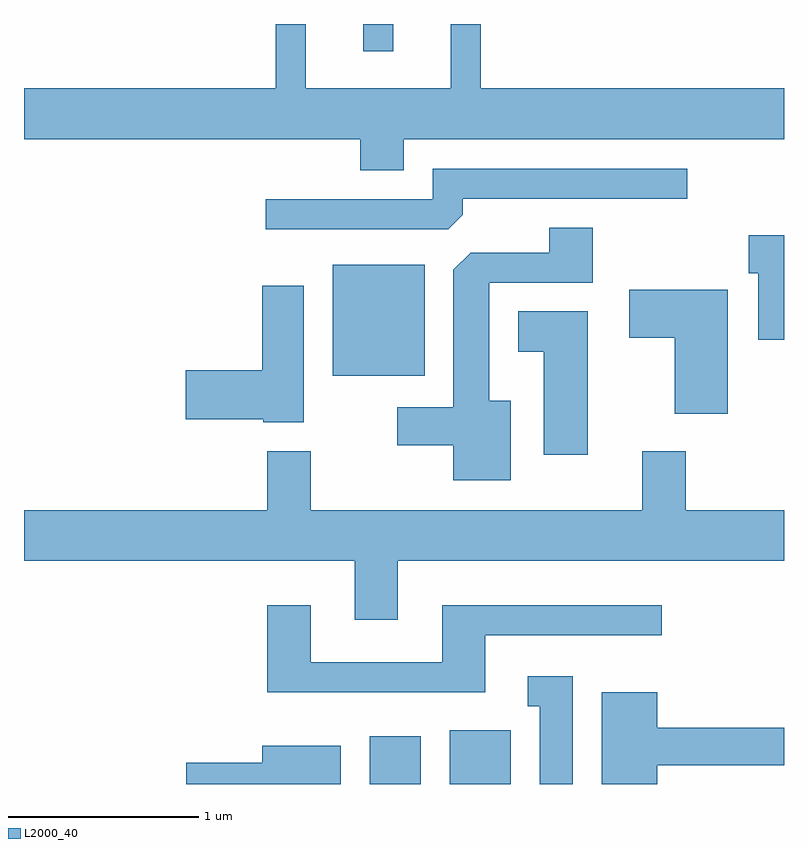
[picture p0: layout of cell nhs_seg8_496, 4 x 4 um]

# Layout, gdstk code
import gdstk
lib = gdstk.Library(unit=1e-6, precision=1e-09)
def R(c, l, rs):  # rectangles x0, y0, x1, y1
    for r in rs: c.add(gdstk.rectangle(r[:2], r[2:], *l))
def P(c, l, *ps):  # polygons
    for p in ps: c.add(gdstk.Polygon(p, *l))
L2000_40 = (2000, 40)

nhs_seg8_496 = lib.new_cell('nhs_seg8_496')
R(nhs_seg8_496, L2000_40, [(201.431,1846.342,201.699,1846.594), (201.851,1846.342,202.174,1846.624), (201.236,1848.491,201.719,1849.074), (201.396,1850.198,201.554,1850.342)])
P(nhs_seg8_496, L2000_40, [(201.609,1849.736),(203.611,1849.736),(203.611,1850.004),(202.014,1850.004),(202.014,1850.342),(201.856,1850.342),(201.856,1850.004),(201.094,1850.004),(201.094,1850.342),(200.936,1850.342),(200.936,1850.004),(199.611,1850.004),(199.611,1849.736),(201.381,1849.736),(201.381,1849.571),(201.609,1849.571)],
  [(201.919,1849.337),(201.919,1849.421),(203.103,1849.421),(203.103,1849.579),(201.761,1849.579),(201.761,1849.419),(200.883,1849.419),(200.883,1849.261),(201.844,1849.261)],
  [(202.174,1848.359),(202.059,1848.359),(202.059,1848.981),(202.604,1848.981),(202.604,1849.269),(202.376,1849.269),(202.376,1849.139),(201.962,1849.139),(201.871,1849.049),(201.871,1848.324),(201.576,1848.324),(201.576,1848.126),(201.871,1848.126),(201.871,1847.941),(202.174,1847.941)],
  [(203.611,1849.229),(203.426,1849.229),(203.426,1849.031),(203.476,1849.031),(203.476,1848.681),(203.611,1848.681)],
  [(201.084,1848.964),(200.866,1848.964),(200.866,1848.519),(200.461,1848.519),(200.461,1848.261),(200.87,1848.261),(200.87,1848.246),(201.084,1848.246)],
  [(203.314,1848.944),(202.796,1848.944),(202.796,1848.691),(203.036,1848.691),(203.036,1848.291),(203.314,1848.291)],
  [(202.579,1848.829),(202.211,1848.829),(202.211,1848.616),(202.346,1848.616),(202.346,1848.076),(202.579,1848.076)],
  [(201.579,1847.516),(203.611,1847.516),(203.611,1847.784),(203.094,1847.784),(203.094,1848.094),(202.866,1848.094),(202.866,1847.784),(201.119,1847.784),(201.119,1848.094),(200.891,1848.094),(200.891,1847.784),(199.611,1847.784),(199.611,1847.516),(201.351,1847.516),(201.351,1847.206),(201.579,1847.206)],
  [(202.039,1847.126),(202.968,1847.126),(202.968,1847.284),(201.811,1847.284),(201.811,1846.984),(201.119,1846.984),(201.119,1847.284),(200.891,1847.284),(200.891,1846.826),(202.039,1846.826)],
  [(202.499,1846.909),(202.263,1846.909),(202.263,1846.751),(202.326,1846.751),(202.326,1846.342),(202.499,1846.342)],
  [(202.944,1846.441),(203.611,1846.441),(203.611,1846.639),(202.944,1846.639),(202.944,1846.824),(202.651,1846.824),(202.651,1846.342),(202.944,1846.342)],
  [(201.279,1846.544),(200.866,1846.544),(200.866,1846.454),(200.466,1846.454),(200.466,1846.342),(201.279,1846.342)])

lib.write_gds('nhs_seg8_496.gds')
